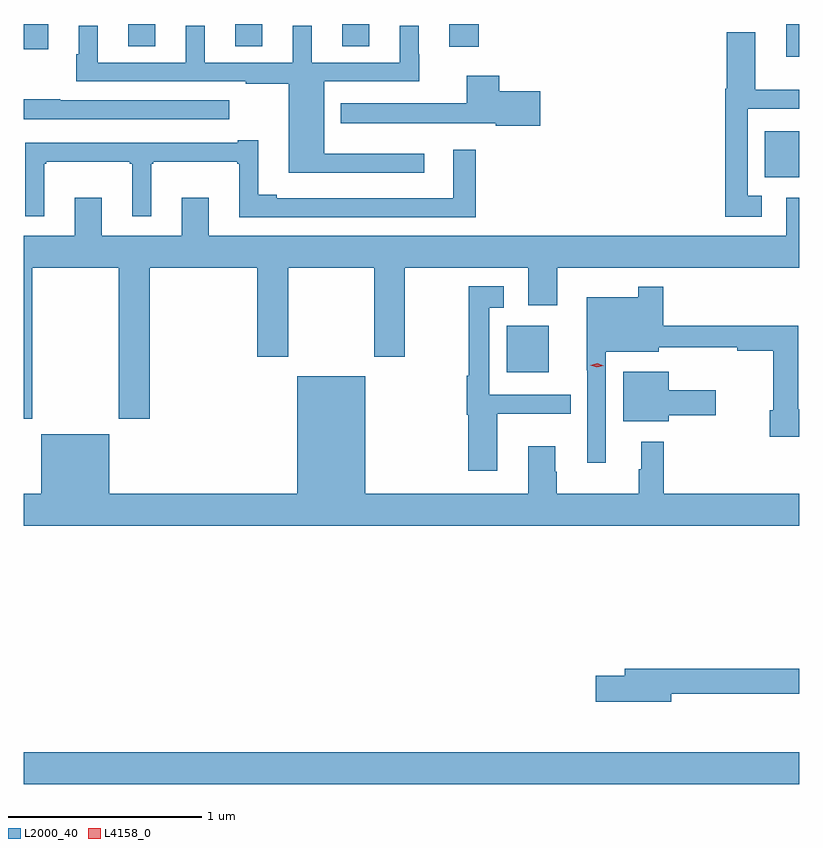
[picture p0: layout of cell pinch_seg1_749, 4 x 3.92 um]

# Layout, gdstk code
import gdstk
lib = gdstk.Library(unit=1e-6, precision=1e-09)
def R(c, l, rs):  # rectangles x0, y0, x1, y1
    for r in rs: c.add(gdstk.rectangle(r[:2], r[2:], *l))
def A(c, l, x, y, w, h, nx, ny, dx, dy):  # array of equal rectangles
    R(c, l, [(x+i*dx, y+j*dy, x+i*dx+w, y+j*dy+h) for i in range(nx) for j in range(ny)])
def P(c, l, *ps):  # polygons
    for p in ps: c.add(gdstk.Polygon(p, *l))
L2000_40 = (2000, 40)
L4158_0 = (4158, 0)

pinch_seg1_749 = lib.new_cell('pinch_seg1_749')
A(pinch_seg1_749, L2000_40, 867.329, 515.578, 0.14, 0.114, 3, 1, 0.552, 0)
R(pinch_seg1_749, L2000_40, [(866.791,511.772,870.791,511.936), (869.282,513.896,869.5,514.135), (870.614,514.901,870.791,515.14), (870.725,515.523,870.791,515.692), (866.791,515.562,866.917,515.692), (868.985,515.574,869.138,515.692)])
P(pinch_seg1_749, L2000_40, [(868.858,515.023),(868.342,515.023),(868.342,515.397),(868.83,515.397),(868.83,515.537),(868.828,515.537),(868.828,515.683),(868.73,515.683),(868.73,515.493),(868.276,515.493),(868.276,515.683),(868.178,515.683),(868.178,515.493),(867.724,515.493),(867.724,515.683),(867.626,515.683),(867.626,515.493),(867.172,515.493),(867.172,515.683),(867.074,515.683),(867.074,515.537),(867.063,515.537),(867.063,515.397),(867.937,515.397),(867.937,515.385),(868.157,515.385),(868.157,514.925),(868.858,514.925)],
  [(870.598,514.807),(870.525,514.807),(870.525,515.256),(870.791,515.256),(870.791,515.353),(870.565,515.353),(870.565,515.65),(870.416,515.65),(870.416,515.359),(870.409,515.359),(870.409,514.698),(870.598,514.698)],
  [(869.455,515.346),(869.243,515.346),(869.243,515.425),(869.075,515.425),(869.075,515.284),(868.427,515.284),(868.427,515.18),(869.226,515.18),(869.226,515.168),(869.455,515.168)],
  [(867.85,515.298),(866.978,515.298),(866.978,515.303),(866.791,515.303),(866.791,515.202),(867.85,515.202)],
  [(869.123,515.044),(869.006,515.044),(869.006,514.792),(868.096,514.792),(868.096,514.811),(868,514.811),(868,515.092),(867.896,515.092),(867.896,515.079),(866.798,515.079),(866.798,514.701),(866.896,514.701),(866.896,514.971),(866.908,514.971),(866.908,514.982),(867.339,514.982),(867.339,514.971),(867.35,514.971),(867.35,514.701),(867.448,514.701),(867.448,514.971),(867.46,514.971),(867.46,514.982),(867.891,514.982),(867.891,514.971),(867.902,514.971),(867.902,514.695),(869.123,514.695)],
  [(866.835,514.436),(867.28,514.436),(867.28,513.657),(867.44,513.657),(867.44,514.436),(867.995,514.436),(867.995,513.975),(868.155,513.975),(868.155,514.436),(868.6,514.436),(868.6,513.975),(868.755,513.975),(868.755,514.436),(869.393,514.436),(869.393,514.242),(869.542,514.242),(869.542,514.436),(870.791,514.436),(870.791,514.795),(870.725,514.795),(870.725,514.6),(867.745,514.6),(867.745,514.795),(867.605,514.795),(867.605,514.6),(867.193,514.6),(867.193,514.795),(867.053,514.795),(867.053,514.6),(866.791,514.6),(866.791,513.657),(866.835,513.657)],
  [(869.233,513.683),(869.612,513.683),(869.612,513.78),(869.193,513.78),(869.193,514.229),(869.266,514.229),(869.266,514.339),(869.085,514.339),(869.085,513.877),(869.077,513.877),(869.077,513.677),(869.084,513.677),(869.084,513.387),(869.233,513.387)],
  [(869.793,514.001),(870.066,514.001),(870.066,514.024),(870.472,514.024),(870.472,514.006),(870.657,514.006),(870.657,513.699),(870.638,513.699),(870.638,513.562),(870.791,513.562),(870.791,513.704),(870.785,513.704),(870.785,514.135),(870.089,514.135),(870.089,514.336),(869.961,514.336),(869.961,514.282),(869.696,514.282),(869.696,513.905),(869.697,513.905),(869.697,513.429),(869.793,513.429)],
  [(870.118,513.673),(870.361,513.673),(870.361,513.802),(870.118,513.802),(870.118,513.898),(869.882,513.898),(869.882,513.644),(870.118,513.644)],
  [(870.791,513.268),(870.092,513.268),(870.092,513.538),(869.975,513.538),(869.975,513.395),(869.964,513.395),(869.964,513.268),(869.541,513.268),(869.541,513.383),(869.533,513.383),(869.533,513.514),(869.393,513.514),(869.393,513.268),(868.552,513.268),(868.552,513.874),(868.202,513.874),(868.202,513.268),(867.232,513.268),(867.232,513.577),(866.882,513.577),(866.882,513.268),(866.791,513.268),(866.791,513.104),(870.791,513.104)],
  [(870.13,512.238),(870.791,512.238),(870.791,512.366),(869.891,512.366),(869.891,512.33),(869.742,512.33),(869.742,512.195),(870.13,512.195)])
P(pinch_seg1_749, L4158_0, [(869.747,513.921),(869.712,513.932),(869.711,513.933),(869.712,513.933),(869.748,513.941),(869.783,513.93),(869.783,513.929),(869.783,513.929)])

lib.write_gds('pinch_seg1_749.gds')
